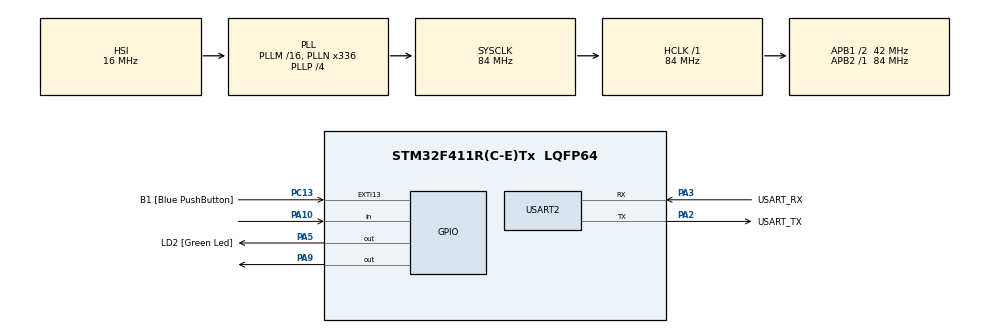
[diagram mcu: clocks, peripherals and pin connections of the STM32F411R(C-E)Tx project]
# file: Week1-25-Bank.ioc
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Mcu.Family=STM32F4
Mcu.Name=STM32F411R(C-E)Tx
Mcu.Package=LQFP64
NVIC.PriorityGroup=NVIC_PRIORITYGROUP_0
PA10.Signal=GPIO_Input
PA13.GPIO_Label=TMS
PA13.Mode=Serial_Wire
PA13.Signal=SYS_JTMS-SWDIO
PA14.GPIO_Label=TCK
PA14.Mode=Serial_Wire
PA14.Signal=SYS_JTCK-SWCLK
PA2.GPIO_Label=USART_TX
PA2.Mode=Asynchronous
PA2.Signal=USART2_TX
PA3.GPIO_Label=USART_RX
PA3.Mode=Asynchronous
PA3.Signal=USART2_RX
PA5.GPIO_Label=LD2 [Green Led]
PA5.Signal=GPIO_Output
PA9.Signal=GPIO_Output
PB3.GPIO_Label=SWO
PB3.Signal=SYS_JTDO-SWO
PC13-ANTI_TAMP.GPIO_Label=B1 [Blue PushButton]
PC13-ANTI_TAMP.GPIO_ModeDefaultEXTI=GPIO_MODE_IT_FALLING
PC13-ANTI_TAMP.Signal=GPXTI13
PC14-OSC32_IN.Mode=LSE-External-Oscillator
PC14-OSC32_IN.Signal=RCC_OSC32_IN
PC15-OSC32_OUT.Mode=LSE-External-Oscillator
PC15-OSC32_OUT.Signal=RCC_OSC32_OUT
PH0\ -\ OSC_IN.Mode=HSE-External-Clock-Source
PH0\ -\ OSC_IN.Signal=RCC_OSC_IN
PH1\ -\ OSC_OUT.Mode=HSE-External-Clock-Source
PH1\ -\ OSC_OUT.Signal=RCC_OSC_OUT
ProjectManager.HeapSize=0x200
ProjectManager.StackSize=0x400
ProjectManager.TargetToolchain=STM32CubeIDE
RCC.48MHZClocksFreq_Value=84000000
RCC.AHBFreq_Value=84000000
RCC.APB1CLKDivider=RCC_HCLK_DIV2
RCC.APB1Freq_Value=42000000
RCC.APB1TimFreq_Value=84000000
RCC.APB2Freq_Value=84000000
RCC.APB2TimFreq_Value=84000000
RCC.CortexFreq_Value=84000000
RCC.FLatency-AdvancedSettings=FLASH_LATENCY_2
RCC.HCLKFreq_Value=84000000
RCC.HSE_VALUE=8000000
RCC.HSI_VALUE=16000000
RCC.PLLN=336
RCC.PLLP=RCC_PLLP_DIV4
RCC.SYSCLKFreq_VALUE=84000000
RCC.SYSCLKSource=RCC_SYSCLKSOURCE_PLLCLK
RCC.VCOOutputFreq_Value=336000000
USART2.VirtualMode=VM_ASYNC
board=NUCLEO-F411RE

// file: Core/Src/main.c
/* USER CODE BEGIN Header */
/**
  ******************************************************************************
  * @file           : main.c
  * @brief          : Main program body
  ******************************************************************************
  * @attention
  *
  * <h2><center>&copy; Copyright (c) 2021 STMicroelectronics.
  * All rights reserved.</center></h2>
  *
  * This software component is licensed by ST under BSD 3-Clause license,
  * the "License"; You may not use this file except in compliance with the
  * License. You may obtain a copy of the License at:
  *                        opensource.org/licenses/BSD-3-Clause
  *
  ******************************************************************************
  */
/* USER CODE END Header */
#include "main.h"

UART_HandleTypeDef huart2;

void SystemClock_Config(void);
static void MX_GPIO_Init(void);
static void MX_USART2_UART_Init(void);

int main(void)
{

  /* MCU Configuration--------------------------------------------------------*/

  /* Reset of all peripherals, Initializes the Flash interface and the Systick. */
  HAL_Init();

  /* Configure the system clock */
  SystemClock_Config();

  /* Initialize all configured peripherals */
  MX_GPIO_Init();
  MX_USART2_UART_Init();
  /* USER CODE BEGIN 2 */
  GPIO_PinState SwitchState[2]; //Now,Last
  uint16_t LED1_HalfPeriod = 500; //hz
  uint32_t TimeStamp = 0;
  uint32_t ButtonTimeStamp = 0;
  /* USER CODE END 2 */

  /* Infinite loop */
  while (1)
  {

    /* USER CODE BEGIN 3 */
	  if(HAL_GetTick() - ButtonTimeStamp >= 100)
	  {
		  ButtonTimeStamp = HAL_GetTick();
	  //switch press is LOW
	  	  SwitchState[0] = HAL_GPIO_ReadPin(GPIOA, GPIO_PIN_10);
	  	  if(SwitchState[1]== GPIO_PIN_SET && SwitchState[0] == GPIO_PIN_RESET)
	  	  {
	  		  //change Half Period of LED 1
	  		  if(LED1_HalfPeriod == 500)
	  		  {
	  			  LED1_HalfPeriod = 250;
	  		  }
	  		  else
	  		  {
	  			  LED1_HalfPeriod = 500;
	  		  }
	  	  }
	  	  SwitchState[1] = SwitchState[0];
	  }
	  //Run LED
	  if(HAL_GetTick() - TimeStamp >= LED1_HalfPeriod)
	  {
		  TimeStamp = HAL_GetTick();
		  if(HAL_GPIO_ReadPin(GPIOA, GPIO_PIN_9)==GPIO_PIN_SET)
		  {
			  HAL_GPIO_WritePin(GPIOA, GPIO_PIN_9, GPIO_PIN_RESET);
		  }
		  else
		  {
			  HAL_GPIO_WritePin(GPIOA, GPIO_PIN_9, GPIO_PIN_SET);
		  }
	  }
	  HAL_GetTick(); //mS
  }
  /* USER CODE END 3 */
}

void SystemClock_Config(void)
{
  RCC_OscInitTypeDef RCC_OscInitStruct = {0};
  RCC_ClkInitTypeDef RCC_ClkInitStruct = {0};

  /** Configure the main internal regulator output voltage
  */
  __HAL_RCC_PWR_CLK_ENABLE();
  __HAL_PWR_VOLTAGESCALING_CONFIG(PWR_REGULATOR_VOLTAGE_SCALE1);
  /** Initializes the RCC Oscillators according to the specified parameters
  * in the RCC_OscInitTypeDef structure.
  */
  RCC_OscInitStruct.OscillatorType = RCC_OSCILLATORTYPE_HSI;
  RCC_OscInitStruct.HSIState = RCC_HSI_ON;
  RCC_OscInitStruct.HSICalibrationValue = RCC_HSICALIBRATION_DEFAULT;
  RCC_OscInitStruct.PLL.PLLState = RCC_PLL_ON;
  RCC_OscInitStruct.PLL.PLLSource = RCC_PLLSOURCE_HSI;
  RCC_OscInitStruct.PLL.PLLM = 16;
  RCC_OscInitStruct.PLL.PLLN = 336;
  RCC_OscInitStruct.PLL.PLLP = RCC_PLLP_DIV4;
  RCC_OscInitStruct.PLL.PLLQ = 4;
  if (HAL_RCC_OscConfig(&RCC_OscInitStruct) != HAL_OK)
  {
    Error_Handler();
  }
  /** Initializes the CPU, AHB and APB buses clocks
  */
  RCC_ClkInitStruct.ClockType = RCC_CLOCKTYPE_HCLK|RCC_CLOCKTYPE_SYSCLK
                              |RCC_CLOCKTYPE_PCLK1|RCC_CLOCKTYPE_PCLK2;
  RCC_ClkInitStruct.SYSCLKSource = RCC_SYSCLKSOURCE_PLLCLK;
  RCC_ClkInitStruct.AHBCLKDivider = RCC_SYSCLK_DIV1;
  RCC_ClkInitStruct.APB1CLKDivider = RCC_HCLK_DIV2;
  RCC_ClkInitStruct.APB2CLKDivider = RCC_HCLK_DIV1;

  if (HAL_RCC_ClockConfig(&RCC_ClkInitStruct, FLASH_LATENCY_2) != HAL_OK)
  {
    Error_Handler();
  }
}

static void MX_USART2_UART_Init(void)
{

  huart2.Instance = USART2;
  huart2.Init.BaudRate = 115200;
  huart2.Init.WordLength = UART_WORDLENGTH_8B;
  huart2.Init.StopBits = UART_STOPBITS_1;
  huart2.Init.Parity = UART_PARITY_NONE;
  huart2.Init.Mode = UART_MODE_TX_RX;
  huart2.Init.HwFlowCtl = UART_HWCONTROL_NONE;
  huart2.Init.OverSampling = UART_OVERSAMPLING_16;
  if (HAL_UART_Init(&huart2) != HAL_OK)
  {
    Error_Handler();
  }

}

static void MX_GPIO_Init(void)
{
  GPIO_InitTypeDef GPIO_InitStruct = {0};

  /* GPIO Ports Clock Enable */
  __HAL_RCC_GPIOC_CLK_ENABLE();
  __HAL_RCC_GPIOH_CLK_ENABLE();
  __HAL_RCC_GPIOA_CLK_ENABLE();
  __HAL_RCC_GPIOB_CLK_ENABLE();

  /*Configure GPIO pin Output Level */
  HAL_GPIO_WritePin(GPIOA, LD2_Pin|GPIO_PIN_9, GPIO_PIN_RESET);

  /*Configure GPIO pin : B1_Pin */
  GPIO_InitStruct.Pin = B1_Pin;
  GPIO_InitStruct.Mode = GPIO_MODE_IT_FALLING;
  GPIO_InitStruct.Pull = GPIO_NOPULL;
  HAL_GPIO_Init(B1_GPIO_Port, &GPIO_InitStruct);

  /*Configure GPIO pins : LD2_Pin PA9 */
  GPIO_InitStruct.Pin = LD2_Pin|GPIO_PIN_9;
  GPIO_InitStruct.Mode = GPIO_MODE_OUTPUT_PP;
  GPIO_InitStruct.Pull = GPIO_NOPULL;
  GPIO_InitStruct.Speed = GPIO_SPEED_FREQ_LOW;
  HAL_GPIO_Init(GPIOA, &GPIO_InitStruct);

  /*Configure GPIO pin : PA10 */
  GPIO_InitStruct.Pin = GPIO_PIN_10;
  GPIO_InitStruct.Mode = GPIO_MODE_INPUT;
  GPIO_InitStruct.Pull = GPIO_NOPULL;
  HAL_GPIO_Init(GPIOA, &GPIO_InitStruct);

}

void Error_Handler(void)
{
  __disable_irq();
  while (1)
  {
  }
}

/************************ (C) COPYRIGHT STMicroelectronics *****END OF FILE****/
